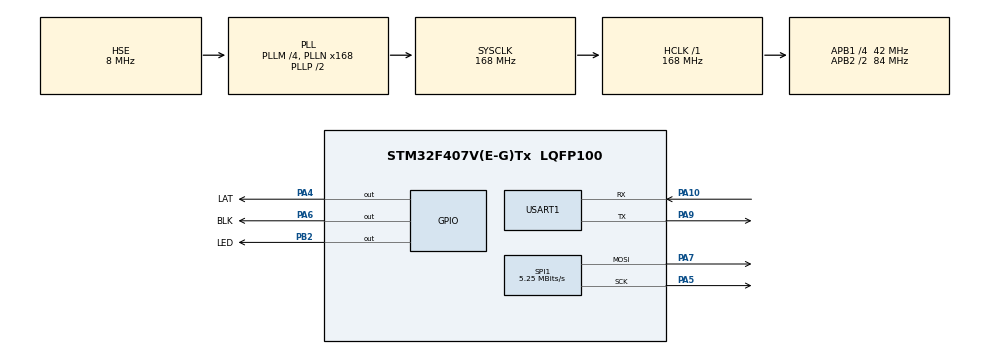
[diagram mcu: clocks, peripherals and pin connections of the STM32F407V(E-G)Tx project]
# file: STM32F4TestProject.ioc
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Dma.Request0=SPI1_TX
Dma.SPI1_TX.0.Direction=DMA_MEMORY_TO_PERIPH
Dma.SPI1_TX.0.FIFOMode=DMA_FIFOMODE_DISABLE
Dma.SPI1_TX.0.Instance=DMA2_Stream3
Dma.SPI1_TX.0.MemDataAlignment=DMA_MDATAALIGN_BYTE
Dma.SPI1_TX.0.MemInc=DMA_MINC_ENABLE
Dma.SPI1_TX.0.Mode=DMA_NORMAL
Dma.SPI1_TX.0.PeriphDataAlignment=DMA_PDATAALIGN_BYTE
Dma.SPI1_TX.0.PeriphInc=DMA_PINC_DISABLE
Dma.SPI1_TX.0.Priority=DMA_PRIORITY_VERY_HIGH
Mcu.Family=STM32F4
Mcu.Name=STM32F407V(E-G)Tx
Mcu.Package=LQFP100
NVIC.DMA2_Stream3_IRQn=true\:5\:0\:true\:false\:true\:false\:true\:true
NVIC.PriorityGroup=NVIC_PRIORITYGROUP_4
PA10.Mode=Asynchronous
PA10.Signal=USART1_RX
PA13.Mode=Serial_Wire
PA13.Signal=SYS_JTMS-SWDIO
PA14.Mode=Serial_Wire
PA14.Signal=SYS_JTCK-SWCLK
PA4.GPIO_Label=LAT
PA4.GPIO_Speed=GPIO_SPEED_FREQ_VERY_HIGH
PA4.Signal=GPIO_Output
PA5.Mode=TX_Only_Simplex_Unidirect_Master
PA5.Signal=SPI1_SCK
PA6.GPIO_Label=BLK
PA6.GPIO_ModeDefaultOutputPP=GPIO_MODE_OUTPUT_OD
PA6.GPIO_PuPd=GPIO_NOPULL
PA6.GPIO_Speed=GPIO_SPEED_FREQ_VERY_HIGH
PA6.PinState=GPIO_PIN_SET
PA6.Signal=GPIO_Output
PA7.Mode=TX_Only_Simplex_Unidirect_Master
PA7.Signal=SPI1_MOSI
PA9.Mode=Asynchronous
PA9.Signal=USART1_TX
PB2.GPIO_Label=LED
PB2.Signal=GPIO_Output
PH0-OSC_IN.Mode=HSE-External-Oscillator
PH0-OSC_IN.Signal=RCC_OSC_IN
PH1-OSC_OUT.Mode=HSE-External-Oscillator
PH1-OSC_OUT.Signal=RCC_OSC_OUT
ProjectManager.HeapSize=0x200
ProjectManager.StackSize=0x400
ProjectManager.TargetToolchain=MDK-ARM V5.32
RCC.48MHZClocksFreq_Value=84000000
RCC.AHBFreq_Value=168000000
RCC.APB1CLKDivider=RCC_HCLK_DIV4
RCC.APB1Freq_Value=42000000
RCC.APB1TimFreq_Value=84000000
RCC.APB2CLKDivider=RCC_HCLK_DIV2
RCC.APB2Freq_Value=84000000
RCC.APB2TimFreq_Value=168000000
RCC.CortexFreq_Value=168000000
RCC.HCLKFreq_Value=168000000
RCC.HSE_VALUE=8000000
RCC.HSI_VALUE=16000000
RCC.LSE_VALUE=32768
RCC.PLLM=4
RCC.PLLN=168
RCC.PLLSourceVirtual=RCC_PLLSOURCE_HSE
RCC.SYSCLKFreq_VALUE=168000000
RCC.SYSCLKSource=RCC_SYSCLKSOURCE_PLLCLK
RCC.VCOOutputFreq_Value=336000000
SPI1.BaudRatePrescaler=SPI_BAUDRATEPRESCALER_16
SPI1.CLKPhase=SPI_PHASE_2EDGE
SPI1.CLKPolarity=SPI_POLARITY_HIGH
SPI1.CalculateBaudRate=5.25 MBits/s
SPI1.DataSize=SPI_DATASIZE_8BIT
SPI1.Direction=SPI_DIRECTION_2LINES
SPI1.FirstBit=SPI_FIRSTBIT_MSB
SPI1.Mode=SPI_MODE_MASTER
SPI1.VirtualType=VM_MASTER
USART1.VirtualMode=VM_ASYNC
board=custom

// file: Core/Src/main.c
/* USER CODE BEGIN Header */
/**
 ******************************************************************************
 * @file           : main.c
 * @brief          : Main program body
 ******************************************************************************
 * @attention
 *
 * Copyright (c) 2025 STMicroelectronics.
 * All rights reserved.
 *
 * This software is licensed under terms that can be found in the LICENSE file
 * in the root directory of this software component.
 * If no LICENSE file comes with this software, it is provided AS-IS.
 *
 ******************************************************************************
 */
/* USER CODE END Header */
#include "main.h"
#include "dma.h"
#include "gpio.h"
#include "spi.h"
#include "usart.h"

/* USER CODE BEGIN Includes */
#include "example_animation.h"
#include "mn28016a.h"
#include "sys.h"
/* USER CODE END Includes */

void SystemClock_Config(void);

int main(void) {

    /* MCU
     * Configuration--------------------------------------------------------*/

    /* Reset of all peripherals, Initializes the Flash interface and the
     * Systick. */
    HAL_Init();

    /* Configure the system clock */
    SystemClock_Config();

    /* Initialize all configured peripherals */
    MX_GPIO_Init();
    MX_DMA_Init();
    MX_USART1_UART_Init();
    MX_SPI1_Init();
    /* USER CODE BEGIN 2 */
    printf("Starting VFD test...\n");

    // 初始化VFD显示屏
    init_vfd();
    printf("VFD initialized\n");
    example_1();
    delay_ms(1000);
    set_brightness(0);
    example_1();
    delay_ms(1000);
    example_2();
    set_brightness(125);
    example_3();
    set_brightness(255);

    /* USER CODE END 2 */

    /* Infinite loop */
    /* USER CODE BEGIN WHILE */
    while (1) {
        // 闪烁LED指示灯，表示程序正在运行
        HAL_GPIO_TogglePin(LED_GPIO_Port, LED_Pin);
        delay_ms(2000);

        animation_wave();
        animation_rain();
        animation_bouncing_ball();
        animation_starfield();
        animation_text_scroll("VFD MN28016A GRAPHICS TEST...");
        animation_scan_line();
        animation_explosion();
        // animation_snake_game();
        animation_matrix();
        animation_heartbeat();

        // 测试帧率
        test_framerate(5);

        /* USER CODE END WHILE */

    }
}

void SystemClock_Config(void) {
    RCC_OscInitTypeDef RCC_OscInitStruct = {0};
    RCC_ClkInitTypeDef RCC_ClkInitStruct = {0};

    /** Configure the main internal regulator output voltage
     */
    __HAL_RCC_PWR_CLK_ENABLE();
    __HAL_PWR_VOLTAGESCALING_CONFIG(PWR_REGULATOR_VOLTAGE_SCALE1);

    /** Initializes the RCC Oscillators according to the specified parameters
     * in the RCC_OscInitTypeDef structure.
     */
    RCC_OscInitStruct.OscillatorType = RCC_OSCILLATORTYPE_HSE;
    RCC_OscInitStruct.HSEState = RCC_HSE_ON;
    RCC_OscInitStruct.PLL.PLLState = RCC_PLL_ON;
    RCC_OscInitStruct.PLL.PLLSource = RCC_PLLSOURCE_HSE;
    RCC_OscInitStruct.PLL.PLLM = 4;
    RCC_OscInitStruct.PLL.PLLN = 168;
    RCC_OscInitStruct.PLL.PLLP = RCC_PLLP_DIV2;
    RCC_OscInitStruct.PLL.PLLQ = 4;
    if (HAL_RCC_OscConfig(&RCC_OscInitStruct) != HAL_OK) {
        Error_Handler();
    }

    /** Initializes the CPU, AHB and APB buses clocks
     */
    RCC_ClkInitStruct.ClockType = RCC_CLOCKTYPE_HCLK | RCC_CLOCKTYPE_SYSCLK |
                                  RCC_CLOCKTYPE_PCLK1 | RCC_CLOCKTYPE_PCLK2;
    RCC_ClkInitStruct.SYSCLKSource = RCC_SYSCLKSOURCE_PLLCLK;
    RCC_ClkInitStruct.AHBCLKDivider = RCC_SYSCLK_DIV1;
    RCC_ClkInitStruct.APB1CLKDivider = RCC_HCLK_DIV4;
    RCC_ClkInitStruct.APB2CLKDivider = RCC_HCLK_DIV2;

    if (HAL_RCC_ClockConfig(&RCC_ClkInitStruct, FLASH_LATENCY_5) != HAL_OK) {
        Error_Handler();
    }
}

void Error_Handler(void) {
    /* USER CODE BEGIN Error_Handler_Debug */
    /* User can add his own implementation to report the HAL error return state
     */
    __disable_irq();
    while (1) {
        HAL_Delay(500);
        printf("Error_Handler\n");
    }
    /* USER CODE END Error_Handler_Debug */
}

#ifdef USE_FULL_ASSERT
/**
 * @brief  Reports the name of the source file and the source line number
 *         where the assert_param error has occurred.
 * @param  file: pointer to the source file name
 * @param  line: assert_param error line source number
 * @retval None
 */
void assert_failed(uint8_t* file, uint32_t line) {
    /* USER CODE BEGIN 6 */
    /* User can add his own implementation to report the file name and line
       number, ex: printf("Wrong parameters value: file %s on line %d\r\n",
       file, line) */
    /* USER CODE END 6 */
}
#endif /* USE_FULL_ASSERT */
